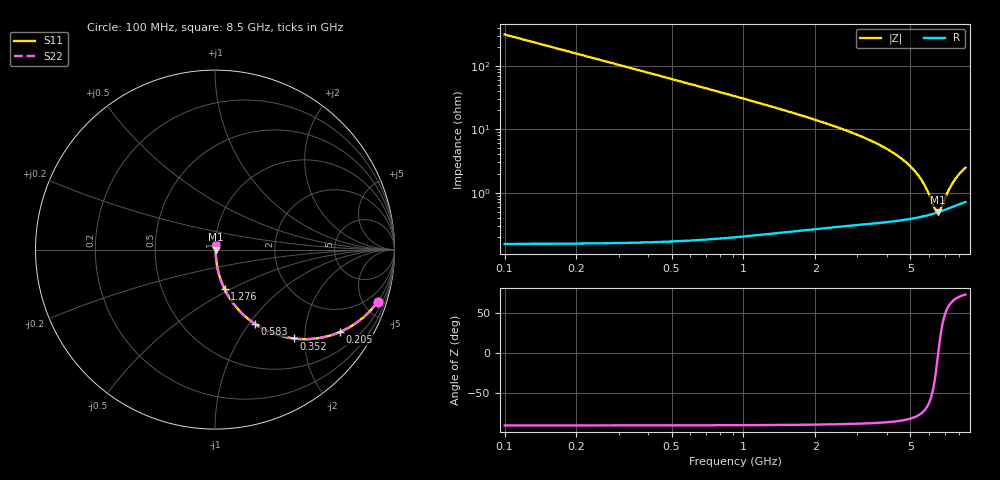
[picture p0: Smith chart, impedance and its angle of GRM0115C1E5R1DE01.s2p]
!Murata Part Number: GRM0115C1E5R1DE01
!These Parameters are Measured in Series Mode Connection
!Data Generated on Mar 30, 2021
!  o--ll--o
!Port1  Port2
!  o------o
!Operation Temp=25[degC], DC Bias Voltage=0[V]
!Freq. Start=100[MHz] Stop=9[GHz] 401[Steps]
# Hz S RI R 50
!Freq.(Hz) S11(Real) S11(Imag) S21(Real) S21(Imag) S12(Real) S12(Imag) S22(Real) S22(Imag)
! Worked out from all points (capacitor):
!   401 points, 100 MHz to 8.5 GHz, reference 50 ohm
!   read as one part in series: C = 5.1 pF near 142 MHz
!   lowest |Z| = 491 mohm at 6.526 GHz (marker M1)
!   series resonance near 6.54 GHz, so ESL is about 120 pH
!   S11 on the Smith chart (normalised r, x): 100 MHz: 1.00, -6.24; 205 MHz: 1.00, -3.04; 352 MHz: 1.00, -1.77; 583 MHz: 1.00, -1.06; 1.276 GHz: 1.00, -0.47; 8.5 GHz: 1.01, +0.05
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1e8  0.9067 -0.2906  0.0933 0.2906  0.0933 0.2906  0.9067 -0.2906
1.42e8  0.8281 -0.3769  0.1719 0.3769  0.1719 0.3769  0.8281 -0.3769
2.05e8  0.6979 -0.4587  0.3021 0.4587  0.3021 0.4587  0.6979 -0.4587
2.68e8  0.5745 -0.4937  0.4255 0.4937  0.4255 0.4937  0.5745 -0.4937
3.52e8  0.4386 -0.4953  0.5614 0.4953  0.5614 0.4953  0.4386 -0.4953
4.57e8  0.3161 -0.4637  0.6839 0.4637  0.6839 0.4637  0.3161 -0.4637
5.83e8  0.2204 -0.4129  0.7796 0.4129  0.7796 0.4129  0.2204 -0.4129
8.56e8  0.1148 -0.316  0.8852 0.316  0.8852 0.316  0.1148 -0.316
1.276e9  0.054 -0.2214  0.946 0.2214  0.946 0.2214  0.054 -0.2214
1.507e9  0.0389 -0.1873  0.9611 0.1873  0.9611 0.1873  0.0389 -0.1873
2.095e9  0.02 -0.13  0.98 0.13  0.98 0.13  0.02 -0.13
2.914e9  0.0102 -0.0842  0.9898 0.0842  0.9898 0.0842  0.0102 -0.0842
4.3e9  0.00519 -0.0406  0.9948 0.0406  0.9948 0.0406  0.00519 -0.0406
5.098e9  0.00445 -0.0236  0.9955 0.0236  0.9955 0.0236  0.00445 -0.0236
5.707e9  0.00441 -0.0128  0.9956 0.0128  0.9956 0.0128  0.00441 -0.0128
6.337e9  0.00472 -0.00293  0.9953 0.00293  0.9953 0.00293  0.00472 -0.00293
6.526e9  0.00488 -0.000196  0.9951 0.000196  0.9951 0.000196  0.00488 -0.000196
6.694e9  0.00505 0.00216  0.995 -0.00216  0.995 -0.00216  0.00505 0.00216
7.114e9  0.00554 0.00775  0.9945 -0.00775  0.9945 -0.00775  0.00554 0.00775
7.408e9  0.00595 0.0114  0.9941 -0.0114  0.9941 -0.0114  0.00595 0.0114
7.723e9  0.00642 0.0151  0.9936 -0.0151  0.9936 -0.0151  0.00642 0.0151
8.5e9  0.00761 0.0234  0.9924 -0.0234  0.9924 -0.0234  0.00761 0.0234
